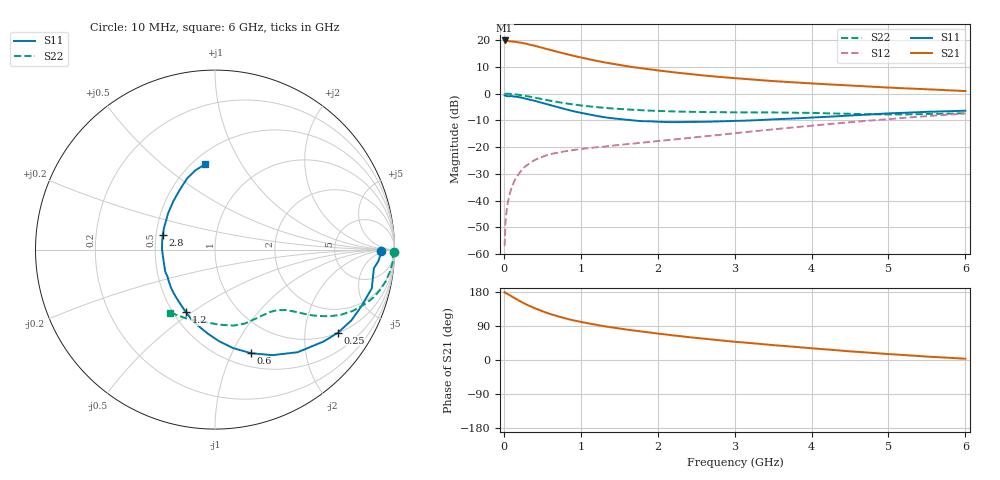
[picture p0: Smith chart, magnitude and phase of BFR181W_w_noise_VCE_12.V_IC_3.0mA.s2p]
! Infineon Technologies  Discrete & RF Semiconductors
! BFR181W
! VCE =  12. V,  IC =  3.0 mA
! Common Emitter S-Parameters:  Jan 2017
# GHz  S  MA  R  50
!  f  S11  S21  S12  S22
! GHz  MAG  ANG  MAG  ANG  MAG  ANG  MAG  ANG
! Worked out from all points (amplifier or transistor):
!   77 points, 10 MHz to 6 GHz, reference 50 ohm
!   highest |S21| = 19.9 dB at 10 MHz (marker M1)
!   |S21| within 3 dB of that: start of sweep to 533.6 MHz
!   unconditionally stable (mu >= 1): 1.679 GHz to 3.746 GHz
!   at 130 MHz: K = 0.11, MSG = 26.3 dB, |S12| = -33.2 dB
!   at 2.2 GHz: K = 1.08, MAG = 10.8 dB, |S12| = -17.2 dB
!   at 6 GHz: K = 0.84, MSG = 4.2 dB, |S12| = -7.5 dB
!   lowest NFmin = 0.87 dB at 450 MHz
!   S11 on the Smith chart (normalised r, x): 10 MHz: 26, -3; 250 MHz: 1.01, -2.96; 600 MHz: 0.64, -1.19; 1.2 GHz: 0.58, -0.47; 2.8 GHz: 0.54, +0.10; 6 GHz: 0.58, +0.71
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0.01  0.9274 -0.5  9.856 179.2  0.0014 74.6  0.9987 -0.7
0.02  0.913 -4.0  9.762 177.1  0.0036 92.7  0.9891 -1.2
0.03  0.9055 -4.9  9.707 176.1  0.0054 89.4  0.9906 -2.0
0.07  0.893 -9.6  9.538 171.6  0.0122 84.4  0.989 -5.0
0.15  0.8742 -21.3  9.296 162.3  0.0253 78.1  0.9673 -10.6
0.25  0.8272 -34.0  8.809 151.0  0.0402 70.6  0.9224 -16.8
0.3  0.7928 -40.2  8.481 145.8  0.0457 67.6  0.8942 -19.5
0.4  0.7339 -51.2  7.859 136.7  0.0571 62.8  0.8404 -24.0
0.5  0.6691 -61.5  7.185 128.7  0.0657 58.6  0.7864 -27.6
0.6  0.6112 -70.8  6.585 121.6  0.0737 55.7  0.7379 -30.2
0.7  0.5584 -79.5  6.022 115.4  0.0784 53.7  0.6949 -32.2
0.8  0.5113 -87.4  5.552 109.8  0.0835 52.6  0.6581 -33.9
0.9  0.4702 -94.8  5.113 104.9  0.0878 51.0  0.6271 -35.2
1.1  0.4098 -108.7  4.412 96.7  0.0952 50.2  0.5789 -37.1
1.2  0.3838 -115.1  4.12 92.9  0.0989 50.1  0.5592 -38.1
1.6  0.3236 -139.5  3.256 80.2  0.1134 51.4  0.5068 -41.7
2.1  0.2938 -166.1  2.611 67.5  0.1337 54.4  0.4688 -47.4
2.8  0.3022 164.1  2.053 52.2  0.1688 57.0  0.4491 -57.5
3.1  0.3109 154.4  1.896 46.5  0.1876 57.3  0.4449 -61.9
4.1  0.3617 128.3  1.521 29.4  0.2586 55.4  0.4316 -78.2
5.1  0.4318 109.7  1.276 14.4  0.3424 49.6  0.4074 -101.9
6  0.4786 96.6  1.117 3.3  0.4237 41.9  0.4306 -125.4
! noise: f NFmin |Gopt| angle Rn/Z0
0.45  0.87  0.47  17  0.27
0.9  0.93  0.42  32  0.26
1.9  1.34  0.24  80  0.21
2.4  1.55  0.21  94  0.23
